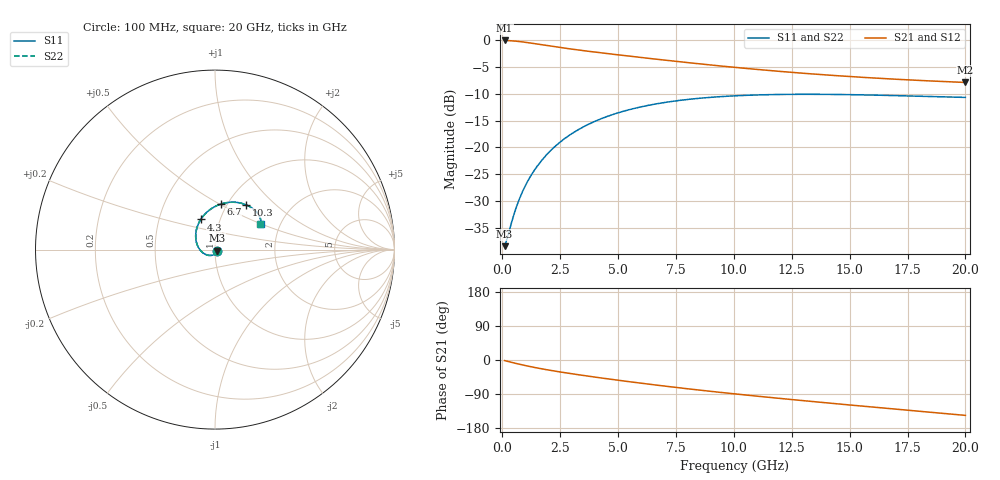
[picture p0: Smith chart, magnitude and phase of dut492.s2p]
! Touchstone file exported from HFSS 2024.1.0
!  File:  C:/UserFiles/LocalFiles/RDL_TSV_Batchsim/temp_RDL_TSV_492_1779735052.aedt
!  Generated:  03:08:53 AM May 26, 2026
!  Design:  RDL_TSV
!  Project:  temp_RDL_TSV_492_1779735052
!  Setup:  Setup1
!  Solution:  Sweep
! Variables:
!  dtsv = 13.26um
!  hbump = 3um
!  htsv = 87.5um
!  ldown = 321.87um
!  lrdl = 168.4um
!  p = 40
!  p1 = 55.12um
!  rhole = 10um
!  subl = 1639.21um
!  t = 450um
!  tdown = 4.2um
!  trdl = 2.04um
!  viad = 10um
!  wdown = 14.45um
!  wrdl = 23.87um
!  xbump = 18um
# GHz S MA R 50.000000
! Terminal data exported
! Port[1] = TM1_1_T1
! Port[2] = TM1_4_T1
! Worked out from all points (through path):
!   200 points, 100 MHz to 20 GHz, reference 50 ohm
!   highest |S21| = -0.10 dB at 100 MHz (marker M1); lowest = -7.9 dB at 20 GHz (marker M2)
!   group delay of S21, straight-line fit = 18.9 ps
!   lowest |S11| = -38.4 dB at 100 MHz (marker M3), VSWR 1.02, Z = 51.1 - j0.519 ohm
!   |S11| at or under -10 dB: start of sweep to end of sweep
!   |S22| runs from -38.4 to -10.1 dB; largest |S21 - S12| = 9e-15
!   S11 on the Smith chart (normalised r, x): 100 MHz: 1.02, -0.01; 4.3 GHz: 0.81, +0.28; 6.7 GHz: 0.93, +0.51; 10.3 GHz: 1.21, +0.67; 20 GHz: 1.58, +0.50
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0.1  0.01207 -24.9  0.9881 -1.6  0.9881 -1.6  0.01207 -24.9
! Gamma 0 0 0 0
! Port Impedance 50 0 50 0
0.2  0.01399 -46.4  0.9865 -3.1  0.9865 -3.1  0.01399 -46.4
0.5  0.02369 -89.8  0.9769 -7.7  0.9769 -7.7  0.0237 -89.8
0.7  0.03156 -109.3  0.9673 -10.6  0.9673 -10.6  0.03157 -109.2
1  0.04422 -132.3  0.9496 -14.7  0.9496 -14.7  0.04423 -132.2
1.4  0.06201 -156.4  0.9227 -19.8  0.9227 -19.8  0.06199 -156.4
1.8  0.08028 -175.9  0.8949 -24.4  0.8949 -24.4  0.08025 -175.8
2.3  0.1032 164.6  0.862 -29.6  0.862 -29.6  0.1031 164.6
2.9  0.1299 146.0  0.8264 -35.4  0.8264 -35.4  0.1298 146.0
3.5  0.1552 131.1  0.7947 -40.8  0.7947 -40.8  0.155 131.1
4.3  0.1859 115.2  0.7567 -47.6  0.7567 -47.6  0.1857 115.3
5.4  0.222 98.3  0.7097 -56.6  0.7097 -56.6  0.2217 98.3
6.7  0.2553 83.0  0.6598 -66.6  0.6598 -66.6  0.2549 83.0
6.8  0.2574 82.0  0.6561 -67.3  0.6561 -67.3  0.2571 82.0
8.4  0.285 67.9  0.6023 -78.7  0.6023 -78.7  0.2846 67.9
10.1  0.3023 56.6  0.5537 -89.8  0.5537 -89.8  0.3019 56.6
10.3  0.3037 55.5  0.5486 -91.1  0.5486 -91.1  0.3033 55.5
11.8  0.3104 47.9  0.5134 -100.3  0.5134 -100.3  0.31 47.9
13.4  0.312 41.7  0.4821 -109.6  0.4821 -109.6  0.3116 41.6
15  0.3096 36.9  0.4564 -118.7  0.4564 -118.7  0.3092 36.8
16.7  0.3043 33.2  0.4341 -128.1  0.4341 -128.1  0.3039 33.1
20  0.2919 29.6  0.4019 -146.1  0.4019 -146.1  0.2914 29.6
